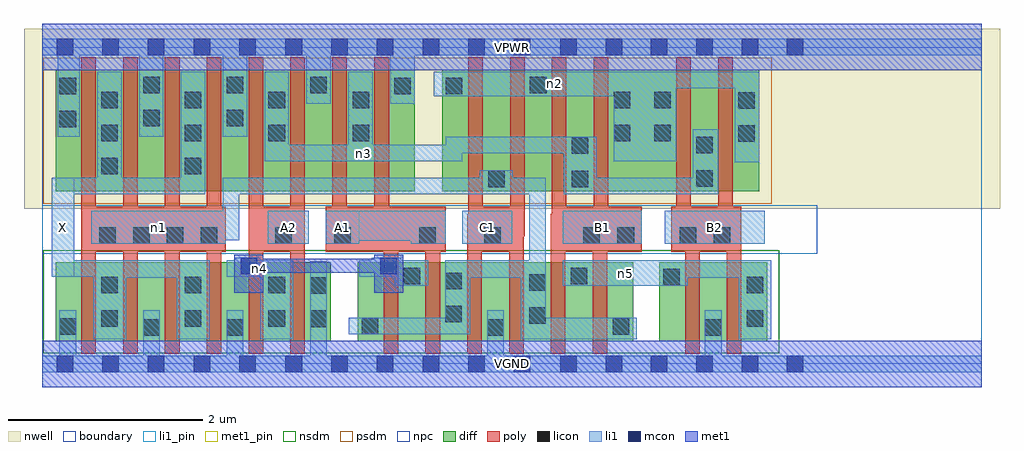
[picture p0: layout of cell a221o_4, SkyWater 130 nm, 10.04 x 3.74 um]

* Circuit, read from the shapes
.subckt a221o_4 A1 A2 B1 B2 C1 VGND VPWR X n1 n2 n3 n4 n5
XM1 X n1 VGND VSUBS sky130_fd_pr__nfet_01v8 w=0.81 l=0.15 m=4
XM2 n4 A2 VGND VSUBS sky130_fd_pr__nfet_01v8 w=0.81 l=0.15 m=2
XM3 n4 A1 n1 VSUBS sky130_fd_pr__nfet_01v8 w=0.81 l=0.15 m=2
XM4 VGND C1 n1 VSUBS sky130_fd_pr__nfet_01v8 w=0.81 l=0.15 m=2
XM5 n5 B1 n1 VSUBS sky130_fd_pr__nfet_01v8 w=0.81 l=0.15 m=2
XM6 VGND B2 n5 VSUBS sky130_fd_pr__nfet_01v8 w=0.81 l=0.15 m=2
XM7 X n1 VPWR n6 sky130_fd_pr__pfet_01v8 w=1.25 l=0.15 m=4
XM8 n3 A2 VPWR n6 sky130_fd_pr__pfet_01v8 w=1.25 l=0.15 m=2
XM9 n3 A1 VPWR n6 sky130_fd_pr__pfet_01v8 w=1.25 l=0.15 m=2
XM10 n1 C1 n2 n6 sky130_fd_pr__pfet_01v8 w=1.25 l=0.15 m=2
XM11 n3 B1 n2 n6 sky130_fd_pr__pfet_01v8 w=1.25 l=0.15 m=2
XM12 n3 B2 n2 n6 sky130_fd_pr__pfet_01v8 w=1.25 l=0.15 m=2
.ends

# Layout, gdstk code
import gdstk
lib = gdstk.Library(unit=1e-6, precision=1e-09)
def R(c, l, rs):  # rectangles x0, y0, x1, y1
    for r in rs: c.add(gdstk.rectangle(r[:2], r[2:], *l))
def A(c, l, x, y, w, h, nx, ny, dx, dy):  # array of equal rectangles
    R(c, l, [(x+i*dx, y+j*dy, x+i*dx+w, y+j*dy+h) for i in range(nx) for j in range(ny)])
nwell = (64, 20)
diff = (65, 20)
poly = (66, 20)
licon = (66, 44)
li1_pin = (67, 16)
li1 = (67, 20)
mcon = (67, 44)
met1_pin = (68, 16)
met1 = (68, 20)
nsdm = (93, 44)
psdm = (94, 20)
npc = (95, 20)
boundary = (235, 4)

a221o_4 = lib.new_cell('a221o_4')
R(a221o_4, nwell, [(-0.19,1.595,9.85,3.45), (0,1.595,9.66,3.45)])
R(a221o_4, diff, [(0.135,0.235,2.965,1.045), (3.245,0.235,6.075,1.045), (6.345,0.235,7.455,1.045), (0.135,1.775,3.83,3.025), (4.11,1.775,7.375,3.025)])
A(a221o_4, poly, 0.4, 0.105, 0.15, 3.05, 6, 1, 0.43, 0)
A(a221o_4, poly, 3.94, 0.105, 0.15, 1.51, 3, 1, 0.86, 0)
R(a221o_4, poly, [(3.51,0.105,3.66,1.615), (4.37,0.105,4.52,1.54), (5.23,0.105,5.38,1.545), (6.61,0.105,6.76,1.615), (7.04,0.105,7.19,1.615), (0.4,1.155,1.885,1.615), (2.12,1.155,2.7,1.615), (2.915,1.155,4.15,1.615), (2.98,1.155,3.13,3.155), (3.415,1.155,3.565,3.155), (4.38,1.155,4.53,3.155), (4.38,1.155,4.8,1.615), (5.24,1.155,5.39,3.155), (5.24,1.155,6.165,1.615), (5.67,1.155,5.82,3.155), (6.47,1.155,7.19,1.615), (6.52,1.155,6.67,3.155), (6.95,1.155,7.1,3.155), (4.81,1.315,4.96,3.155)])
A(a221o_4, licon, 0.605, 0.385, 0.17, 0.17, 3, 2, 0.86, 0.34)
A(a221o_4, licon, 0.605, 2.29, 0.17, 0.17, 3, 2, 0.86, 0.34)
A(a221o_4, licon, 1.035, 2.785, 0.17, 0.17, 3, 1, 0.86, 0)
R(a221o_4, licon, [(1.035,0.29,1.205,0.46), (1.895,0.29,2.065,0.46), (4.575,0.29,4.745,0.46), (6.815,0.29,6.985,0.46), (0.175,0.3,0.345,0.47), (5.865,0.3,6.035,0.47), (3.285,0.305,3.455,0.475), (2.755,0.38,2.925,0.55), (7.245,0.385,7.415,0.555), (5.005,0.415,5.175,0.585), (4.145,0.43,4.315,0.6), (2.755,0.72,2.925,0.89), (7.245,0.725,7.415,0.895), (5.005,0.755,5.175,0.925), (4.145,0.77,4.315,0.94), (6.385,0.81,6.555,0.98), (3.715,0.82,3.885,0.99), (5.435,0.82,5.605,0.99), (0.585,1.235,0.755,1.405), (0.935,1.235,1.105,1.405), (1.28,1.235,1.45,1.405), (1.63,1.235,1.8,1.405), (2.395,1.235,2.565,1.405), (3,1.235,3.17,1.405), (3.875,1.235,4.045,1.405), (4.545,1.235,4.715,1.405), (5.565,1.235,5.735,1.405), (5.915,1.235,6.085,1.405), (6.555,1.235,6.725,1.405), (6.905,1.235,7.075,1.405), (4.585,1.82,4.755,1.99), (5.445,1.82,5.615,1.99), (6.725,1.825,6.895,1.995), (0.605,1.95,0.775,2.12), (1.465,1.95,1.635,2.12), (5.445,2.16,5.615,2.33), (6.725,2.165,6.895,2.335), (7.155,2.285,7.325,2.455), (3.19,2.29,3.36,2.46), (5.875,2.29,6.045,2.46), (6.295,2.29,6.465,2.46), (0.175,2.435,0.345,2.605), (1.035,2.445,1.205,2.615), (1.895,2.445,2.065,2.615), (7.155,2.625,7.325,2.795), (3.19,2.63,3.36,2.8), (5.875,2.63,6.045,2.8), (6.295,2.63,6.465,2.8), (0.175,2.775,0.345,2.945), (3.62,2.775,3.79,2.945), (4.15,2.775,4.32,2.945), (5.015,2.785,5.185,2.955)])
R(a221o_4, li1_pin, [(0.095,0.895,0.325,1.915), (2.315,1.235,2.74,1.575), (2.915,1.235,3.26,1.575), (4.32,1.235,4.83,1.575), (5.35,1.235,6.165,1.575), (6.4,1.235,7.43,1.575)])
A(a221o_4, li1, 0.175, -0.085, 0.17, 0.64, 3, 1, 0.86, 0)
A(a221o_4, li1, 0.52, 0.255, 0.34, 0.81, 3, 1, 0.86, 0)
R(a221o_4, li1, [(0,-0.085,9.66,0.085), (2.755,-0.085,2.925,1.055), (4.575,-0.085,4.745,0.555), (6.815,-0.085,6.99,0.555), (4.92,0.255,6.115,0.475), (4.92,0.255,5.175,1.065), (5.005,0.255,5.175,1.915), (7.16,0.255,7.495,1.065), (3.15,0.305,4.4,0.475), (4.145,0.305,4.4,1.065), (3.625,0.805,3.97,1.065), (5.35,0.805,6.64,1.065), (0.52,0.885,1.72,1.065), (4.145,0.885,5.175,1.065), (5.35,0.885,7.495,1.065), (0.095,0.895,1.72,1.065), (0.095,0.895,0.325,1.915), (1.895,0.895,2.58,1.065), (1.985,0.895,2.21,1.095), (3.26,0.895,3.97,1.065), (3.385,0.895,3.69,1.095), (0.5,1.235,1.885,1.575), (2.315,1.235,2.74,1.575), (2.915,1.235,3.26,1.575), (3.79,1.235,4.15,1.575), (4.32,1.235,4.83,1.575), (5.35,1.235,6.165,1.575), (6.4,1.235,7.43,1.575), (2.915,1.265,4.15,1.575), (1.855,1.275,2.025,1.915), (0.095,1.745,1.675,1.915), (0.565,1.745,0.815,3.005), (1.425,1.745,1.675,3.005), (1.855,1.745,5.175,1.915), (4.5,1.745,4.84,1.995), (5.36,1.745,6.95,1.915), (5.36,1.745,5.7,2.335), (6.69,1.745,6.95,2.415), (7.12,2.075,7.375,3.005), (2.285,2.085,4.32,2.255), (2.285,2.085,2.535,3.005), (3.145,2.085,3.4,3.005), (5.875,2.085,6.52,3.005), (4.15,2.165,5.7,2.335), (0.155,2.335,0.385,3.345), (0.995,2.335,1.245,3.345), (1.855,2.335,2.105,3.345), (2.715,2.675,2.965,3.345), (3.575,2.675,3.83,3.345), (4.025,2.755,6.52,3.005), (4.025,2.835,7.375,3.005), (0,3.175,9.66,3.345)])
A(a221o_4, mcon, 0.145, -0.085, 0.17, 0.17, 5, 2, 0.47, 3.26)
A(a221o_4, mcon, 2.5, -0.085, 0.17, 0.17, 6, 2, 0.47, 3.26)
A(a221o_4, mcon, 6.255, -0.085, 0.17, 0.17, 3, 2, 0.47, 3.26)
R(a221o_4, mcon, [(5.325,-0.085,5.495,0.085), (5.795,-0.085,5.965,0.085), (7.655,-0.085,7.825,0.085), (2.04,0.925,2.21,1.095), (3.475,0.925,3.645,1.095), (5.325,3.175,5.495,3.345), (5.795,3.175,5.965,3.345), (7.655,3.175,7.825,3.345)])
R(a221o_4, met1_pin, [(0,-0.24,9.66,0.24), (0,3.02,9.66,3.5)])
R(a221o_4, met1, [(0,-0.24,9.66,0.24), (1.975,0.735,2.27,1.125), (3.415,0.735,3.71,1.125), (1.975,0.94,3.71,1.08), (0,3.02,9.66,3.5)])
R(a221o_4, nsdm, [(0.01,0.11,7.58,1.17)])
R(a221o_4, psdm, [(0.01,1.65,7.5,3.15)])
R(a221o_4, npc, [(0,1.135,7.97,1.635)])
R(a221o_4, boundary, [(0,0,9.66,3.26)])
a221o_4.add(gdstk.Label('A1', (3.087,1.405), layer=67, texttype=5))
a221o_4.add(gdstk.Label('A2', (2.527,1.405), layer=67, texttype=5))
a221o_4.add(gdstk.Label('B1', (5.757,1.405), layer=67, texttype=5))
a221o_4.add(gdstk.Label('B2', (6.915,1.405), layer=67, texttype=5))
a221o_4.add(gdstk.Label('C1', (4.575,1.405), layer=67, texttype=5))
a221o_4.add(gdstk.Label('X', (0.21,1.405), layer=67, texttype=5))
a221o_4.add(gdstk.Label('n5', (5.995,0.935), layer=67, texttype=5))
a221o_4.add(gdstk.Label('n4', (2.237,0.98), layer=67, texttype=5))
a221o_4.add(gdstk.Label('n1', (1.192,1.405), layer=67, texttype=5))
a221o_4.add(gdstk.Label('n3', (3.302,2.17), layer=67, texttype=5))
a221o_4.add(gdstk.Label('n2', (5.272,2.88), layer=67, texttype=5))
a221o_4.add(gdstk.Label('VPWR', (4.83,3.26), layer=68, texttype=5))
a221o_4.add(gdstk.Label('VGND', (4.83,0), layer=68, texttype=5))
a221o_4.add(gdstk.Label('A1', (3.087,1.405), layer=67, texttype=16))
a221o_4.add(gdstk.Label('A2', (2.527,1.405), layer=67, texttype=16))
a221o_4.add(gdstk.Label('B1', (5.757,1.405), layer=67, texttype=16))
a221o_4.add(gdstk.Label('B2', (6.915,1.405), layer=67, texttype=16))
a221o_4.add(gdstk.Label('C1', (4.575,1.405), layer=67, texttype=16))
a221o_4.add(gdstk.Label('X', (0.21,1.405), layer=67, texttype=16))
a221o_4.add(gdstk.Label('VPWR', (4.83,3.26), layer=68, texttype=16))
a221o_4.add(gdstk.Label('VGND', (4.83,0), layer=68, texttype=16))

lib.write_gds('a221o_4.gds')
